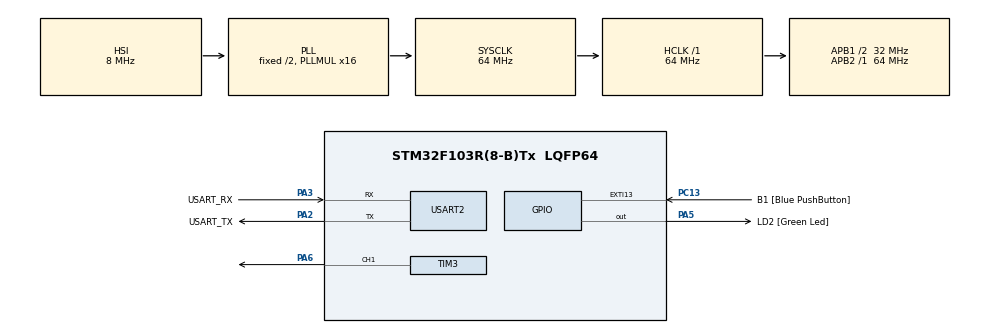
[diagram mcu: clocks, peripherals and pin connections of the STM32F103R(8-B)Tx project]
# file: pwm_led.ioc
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Mcu.Family=STM32F1
Mcu.Name=STM32F103R(8-B)Tx
Mcu.Package=LQFP64
NVIC.EXTI15_10_IRQn=true\:0\:0\:false\:false\:true\:true\:true\:true
NVIC.PriorityGroup=NVIC_PRIORITYGROUP_4
NVIC.TIM3_IRQn=true\:0\:0\:false\:false\:true\:true\:true\:true
NVIC.USART2_IRQn=true\:0\:0\:false\:false\:true\:true\:true\:true
PA13.GPIO_Label=TMS
PA13.Mode=Serial_Wire
PA13.Signal=SYS_JTMS-SWDIO
PA14.GPIO_Label=TCK
PA14.Mode=Serial_Wire
PA14.Signal=SYS_JTCK-SWCLK
PA2.GPIO_Label=USART_TX
PA2.GPIO_Mode=GPIO_MODE_AF_PP
PA2.GPIO_PuPd=GPIO_NOPULL
PA2.GPIO_Speed=GPIO_SPEED_FREQ_LOW
PA2.Mode=Asynchronous
PA2.Signal=USART2_TX
PA3.GPIO_Label=USART_RX
PA3.GPIO_Mode=GPIO_MODE_AF_PP
PA3.GPIO_PuPd=GPIO_NOPULL
PA3.GPIO_Speed=GPIO_SPEED_FREQ_LOW
PA3.Mode=Asynchronous
PA3.Signal=USART2_RX
PA5.GPIO_Label=LD2 [Green Led]
PA5.GPIO_ModeDefaultOutputPP=GPIO_MODE_OUTPUT_PP
PA5.GPIO_PuPd=GPIO_NOPULL
PA5.GPIO_Speed=GPIO_SPEED_FREQ_LOW
PA5.Signal=GPIO_Output
PA6.Signal=S_TIM3_CH1
PB3.GPIO_Label=SWO
PB3.Signal=SYS_JTDO-TRACESWO
PC13-TAMPER-RTC.GPIO_Label=B1 [Blue PushButton]
PC13-TAMPER-RTC.GPIO_ModeDefaultEXTI=GPIO_MODE_IT_FALLING
PC13-TAMPER-RTC.GPIO_PuPd=GPIO_NOPULL
PC13-TAMPER-RTC.Signal=GPXTI13
PC14-OSC32_IN.Signal=RCC_OSC32_IN
PC15-OSC32_OUT.Signal=RCC_OSC32_OUT
PD0-OSC_IN.Signal=RCC_OSC_IN
PD1-OSC_OUT.Signal=RCC_OSC_OUT
ProjectManager.HeapSize=0x200
ProjectManager.StackSize=0x400
ProjectManager.TargetToolchain=STM32CubeIDE
RCC.AHBFreq_Value=64000000
RCC.APB1CLKDivider=RCC_HCLK_DIV2
RCC.APB1Freq_Value=32000000
RCC.APB1TimFreq_Value=64000000
RCC.APB2Freq_Value=64000000
RCC.APB2TimFreq_Value=64000000
RCC.HCLKFreq_Value=64000000
RCC.PLLMUL=RCC_PLL_MUL16
RCC.SYSCLKFreq_VALUE=64000000
RCC.SYSCLKSource=RCC_SYSCLKSOURCE_PLLCLK
RCC.USBFreq_Value=64000000
SH.S_TIM3_CH1.0=TIM3_CH1,PWM Generation1 CH1
TIM3.AutoReloadPreload=TIM_AUTORELOAD_PRELOAD_ENABLE
TIM3.Channel-PWM\ Generation1\ CH1=TIM_CHANNEL_1
TIM3.Period=1000
TIM3.Prescaler=32
TIM3.Pulse-PWM\ Generation1\ CH1=100
USART2.VirtualMode=VM_ASYNC
board=NUCLEO-F103RB

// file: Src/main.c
/* USER CODE BEGIN Header */
/**
  ******************************************************************************
  * @file           : main.c
  * @brief          : Main program body
  ******************************************************************************
  * @attention
  *
  * <h2><center>&copy; Copyright (c) 2019 STMicroelectronics.
  * All rights reserved.</center></h2>
  *
  * This software component is licensed by ST under BSD 3-Clause license,
  * the "License"; You may not use this file except in compliance with the
  * License. You may obtain a copy of the License at:
  *                        opensource.org/licenses/BSD-3-Clause
  *
  ******************************************************************************
  */
/* USER CODE END Header */
#include "main.h"

 TIM_HandleTypeDef htim3;

UART_HandleTypeDef huart2;

void SystemClock_Config(void);
static void MX_GPIO_Init(void);
static void MX_TIM3_Init(void);
static void MX_USART2_UART_Init(void);

/* USER CODE BEGIN 0 */
char rx_buffer[2] = {0};
void HAL_TIM_PeriodElapsedCallback(TIM_HandleTypeDef *htim)
{
	if (htim->Instance == TIM3) {
	}
}
void HAL_UART_RxCpltCallback(UART_HandleTypeDef *huart)
{
	if (huart->Instance == USART2) {

		if (rx_buffer[0] == '+' && (TIM3->CCR1 < 1940))
			TIM3->CCR1 +=10;
		else
		if(rx_buffer[0] == '-' && (TIM3->CCR1 > 0))
			TIM3->CCR1 -=10;
		else
		if(rx_buffer[0] == 'h')
			TIM3->CCR1 =500;
		else
		if(rx_buffer[0] == 'l')
			TIM3->CCR1 =0;
		else
		if(rx_buffer[0] == 'f')
			TIM3->CCR1 =1941;
		else
			printf("wrong option \r\n");
		HAL_UART_Receive_IT(huart, (uint8_t *)rx_buffer, 1);
	}
}

void display_seconds(void){
	static uint32_t tick_tracker = 0;
	static uint32_t deci_seconds = 0;
	char time_buffer[20] = {0};
	if (tick_tracker < HAL_GetTick()){
		tick_tracker =HAL_GetTick()+100;
		GPIOA->ODR ^=GPIO_PIN_5;
	//	sprintf(time_buffer, "%6lu",deci_seconds);
		deci_seconds++;
	//	logmessage(time_buffer);
	}
}

/* USER CODE END 0 */

int main(void)
{

  /* MCU Configuration--------------------------------------------------------*/

  /* Reset of all peripherals, Initializes the Flash interface and the Systick. */
  HAL_Init();

  /* Configure the system clock */
  SystemClock_Config();

  /* USER CODE BEGIN SysInit */
  	//setvbuf(stdout, NULL, _IONBF, 0);

  /* USER CODE END SysInit */

  /* Initialize all configured peripherals */
  MX_GPIO_Init();
  MX_TIM3_Init();
  MX_USART2_UART_Init();
  /* USER CODE BEGIN 2 */
  HAL_UART_Receive_IT(&huart2, (uint8_t *)rx_buffer, 1);

	printf("Program start %s%s\r\n",__DATE__,__TIME__);
	printf("\r\n PRESS ONE OF THE FOLLOWING OPTIONS: \r\n\r\n");
	printf("\t\t [f].......100 percent \r\n");
	printf("\t\t [h]........50 percent \r\n");
	printf("\t\t [l].........0 percent  \r\n");
	printf("\t\t [+].........increase  \r\n");
	printf("\t\t [-].........decrease  \r\n");

  /* USER CODE END 2 */

  /* Infinite loop */
  while (1)
  {

    /* USER CODE BEGIN 3 */
	display_seconds();
  }
  /* USER CODE END 3 */
}

void SystemClock_Config(void)
{
  RCC_OscInitTypeDef RCC_OscInitStruct = {0};
  RCC_ClkInitTypeDef RCC_ClkInitStruct = {0};

  /** Initializes the RCC Oscillators according to the specified parameters
  * in the RCC_OscInitTypeDef structure.
  */
  RCC_OscInitStruct.OscillatorType = RCC_OSCILLATORTYPE_HSI;
  RCC_OscInitStruct.HSIState = RCC_HSI_ON;
  RCC_OscInitStruct.HSICalibrationValue = RCC_HSICALIBRATION_DEFAULT;
  RCC_OscInitStruct.PLL.PLLState = RCC_PLL_ON;
  RCC_OscInitStruct.PLL.PLLSource = RCC_PLLSOURCE_HSI_DIV2;
  RCC_OscInitStruct.PLL.PLLMUL = RCC_PLL_MUL16;
  if (HAL_RCC_OscConfig(&RCC_OscInitStruct) != HAL_OK)
  {
    Error_Handler();
  }

  /** Initializes the CPU, AHB and APB buses clocks
  */
  RCC_ClkInitStruct.ClockType = RCC_CLOCKTYPE_HCLK|RCC_CLOCKTYPE_SYSCLK
                              |RCC_CLOCKTYPE_PCLK1|RCC_CLOCKTYPE_PCLK2;
  RCC_ClkInitStruct.SYSCLKSource = RCC_SYSCLKSOURCE_PLLCLK;
  RCC_ClkInitStruct.AHBCLKDivider = RCC_SYSCLK_DIV1;
  RCC_ClkInitStruct.APB1CLKDivider = RCC_HCLK_DIV2;
  RCC_ClkInitStruct.APB2CLKDivider = RCC_HCLK_DIV1;

  if (HAL_RCC_ClockConfig(&RCC_ClkInitStruct, FLASH_LATENCY_2) != HAL_OK)
  {
    Error_Handler();
  }
}

static void MX_TIM3_Init(void)
{

  TIM_MasterConfigTypeDef sMasterConfig = {0};
  TIM_OC_InitTypeDef sConfigOC = {0};

  htim3.Instance = TIM3;
  htim3.Init.Prescaler = 32;
  htim3.Init.CounterMode = TIM_COUNTERMODE_UP;
  htim3.Init.Period = 1000;
  htim3.Init.ClockDivision = TIM_CLOCKDIVISION_DIV1;
  htim3.Init.AutoReloadPreload = TIM_AUTORELOAD_PRELOAD_ENABLE;
  if (HAL_TIM_PWM_Init(&htim3) != HAL_OK)
  {
    Error_Handler();
  }
  sMasterConfig.MasterOutputTrigger = TIM_TRGO_RESET;
  sMasterConfig.MasterSlaveMode = TIM_MASTERSLAVEMODE_DISABLE;
  if (HAL_TIMEx_MasterConfigSynchronization(&htim3, &sMasterConfig) != HAL_OK)
  {
    Error_Handler();
  }
  sConfigOC.OCMode = TIM_OCMODE_PWM1;
  sConfigOC.Pulse = 100;
  sConfigOC.OCPolarity = TIM_OCPOLARITY_HIGH;
  sConfigOC.OCFastMode = TIM_OCFAST_DISABLE;
  if (HAL_TIM_PWM_ConfigChannel(&htim3, &sConfigOC, TIM_CHANNEL_1) != HAL_OK)
  {
    Error_Handler();
  }
  /* USER CODE BEGIN TIM3_Init 2 */

  if (HAL_TIM_PWM_Start(&htim3, TIM_CHANNEL_1) != HAL_OK)
  {
  	Error_Handler();
  }

  /* USER CODE END TIM3_Init 2 */
  HAL_TIM_MspPostInit(&htim3);

}

static void MX_USART2_UART_Init(void)
{

  huart2.Instance = USART2;
  huart2.Init.BaudRate = 115200;
  huart2.Init.WordLength = UART_WORDLENGTH_8B;
  huart2.Init.StopBits = UART_STOPBITS_1;
  huart2.Init.Parity = UART_PARITY_NONE;
  huart2.Init.Mode = UART_MODE_TX_RX;
  huart2.Init.HwFlowCtl = UART_HWCONTROL_NONE;
  huart2.Init.OverSampling = UART_OVERSAMPLING_16;
  if (HAL_UART_Init(&huart2) != HAL_OK)
  {
    Error_Handler();
  }

}

static void MX_GPIO_Init(void)
{
  GPIO_InitTypeDef GPIO_InitStruct = {0};

  /* GPIO Ports Clock Enable */
  __HAL_RCC_GPIOC_CLK_ENABLE();
  __HAL_RCC_GPIOD_CLK_ENABLE();
  __HAL_RCC_GPIOA_CLK_ENABLE();
  __HAL_RCC_GPIOB_CLK_ENABLE();

  /*Configure GPIO pin Output Level */
  HAL_GPIO_WritePin(LD2_GPIO_Port, LD2_Pin, GPIO_PIN_RESET);

  /*Configure GPIO pin : B1_Pin */
  GPIO_InitStruct.Pin = B1_Pin;
  GPIO_InitStruct.Mode = GPIO_MODE_IT_FALLING;
  GPIO_InitStruct.Pull = GPIO_NOPULL;
  HAL_GPIO_Init(B1_GPIO_Port, &GPIO_InitStruct);

  /*Configure GPIO pin : LD2_Pin */
  GPIO_InitStruct.Pin = LD2_Pin;
  GPIO_InitStruct.Mode = GPIO_MODE_OUTPUT_PP;
  GPIO_InitStruct.Pull = GPIO_NOPULL;
  GPIO_InitStruct.Speed = GPIO_SPEED_FREQ_LOW;
  HAL_GPIO_Init(LD2_GPIO_Port, &GPIO_InitStruct);

  /* EXTI interrupt init*/
  HAL_NVIC_SetPriority(EXTI15_10_IRQn, 0, 0);
  HAL_NVIC_EnableIRQ(EXTI15_10_IRQn);

}

void Error_Handler(void)
{
}
